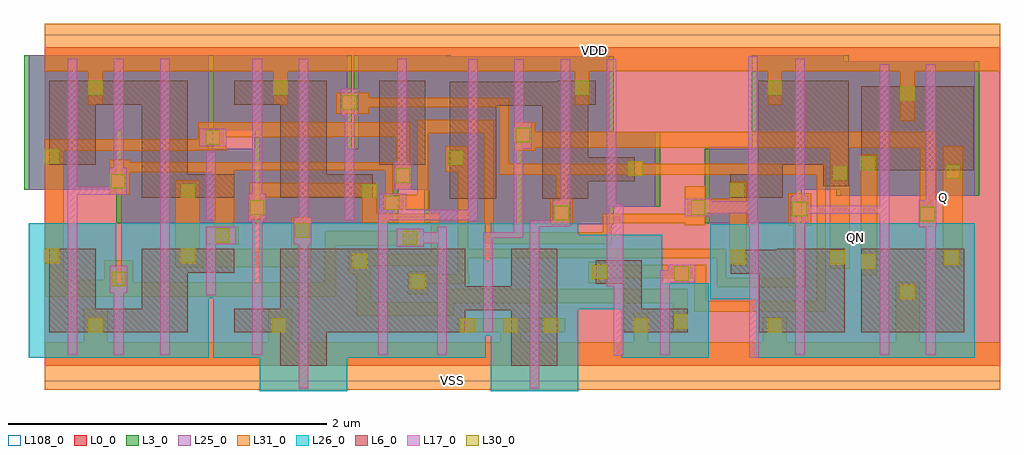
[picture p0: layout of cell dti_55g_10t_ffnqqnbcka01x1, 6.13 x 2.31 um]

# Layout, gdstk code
from math import pi, radians
import gdstk
lib = gdstk.Library(unit=1e-6, precision=1e-09)
def R(c, l, rs):  # rectangles x0, y0, x1, y1
    for r in rs: c.add(gdstk.rectangle(r[:2], r[2:], *l))
def P(c, l, *ps):  # polygons
    for p in ps: c.add(gdstk.Polygon(p, *l))
L0_0 = (0, 0)
L3_0 = (3, 0)
L6_0 = (6, 0)
L17_0 = (17, 0)
L25_0 = (25, 0)
L26_0 = (26, 0)
L30_0 = (30, 0)
L31_0 = (31, 0)
L108_0 = (108, 0)
L923_0 = (923, 0)

template_55g_10t = lib.new_cell('template_55g_10t')
R(template_55g_10t, L31_0, [(0,-0.15,0.2,0.15), (0,1.85,0.2,2.15)])
template_55g_10t.add(gdstk.FlexPath([(0.2,0.21),(0,0.21)], 0, ends="flush", simple_path=True, layer=923, datatype=0))  # L923_0
template_55g_10t.add(gdstk.FlexPath([(0.2,0.735),(0,0.735)], 0, ends="flush", simple_path=True, layer=923, datatype=0))  # L923_0
template_55g_10t.add(gdstk.FlexPath([(0.2,0.895),(0,0.895)], 0, ends="flush", simple_path=True, layer=923, datatype=0))  # L923_0
template_55g_10t.add(gdstk.FlexPath([(0.2,1.055),(0,1.055)], 0, ends="flush", simple_path=True, layer=923, datatype=0))  # L923_0
template_55g_10t.add(gdstk.FlexPath([(0.2,1.79),(0,1.79)], 0, ends="flush", simple_path=True, layer=923, datatype=0))  # L923_0

pmos_4_n_2 = lib.new_cell('pmos_4_n_2')
R(pmos_4_n_2, L3_0, [(-0.275,-0.16,0.335,0.56)])
R(pmos_4_n_2, L6_0, [(-0.115,0,0.175,0.4)])
R(pmos_4_n_2, L17_0, [(0,-0.14,0.06,0.54)])
R(pmos_4_n_2, L25_0, [(-0.245,-0.16,0.305,0.56)])

nmos_525_n_2 = lib.new_cell('nmos_525_n_2')
R(nmos_525_n_2, L6_0, [(-0.115,0,0.175,0.525)])
R(nmos_525_n_2, L17_0, [(0,-0.14,0.06,0.665)])
R(nmos_525_n_2, L26_0, [(-0.245,-0.16,0.305,0.685)])

pmos_15_n_2 = lib.new_cell('pmos_15_n_2')
R(pmos_15_n_2, L3_0, [(-0.275,-0.16,0.335,0.31)])
R(pmos_15_n_2, L6_0, [(-0.115,0,0.175,0.15)])
R(pmos_15_n_2, L17_0, [(0,-0.14,0.06,0.29)])
R(pmos_15_n_2, L25_0, [(-0.245,-0.16,0.305,0.31)])

pmos_735_n_2 = lib.new_cell('pmos_735_n_2')
R(pmos_735_n_2, L3_0, [(-0.275,-0.16,0.335,0.895)])
R(pmos_735_n_2, L6_0, [(-0.115,0,0.175,0.735)])
R(pmos_735_n_2, L17_0, [(0,-0.14,0.06,0.875)])
R(pmos_735_n_2, L25_0, [(-0.245,-0.16,0.305,0.895)])

cellgrid_nom2 = lib.new_cell('cellgrid_noM2')
R(cellgrid_nom2, L0_0, [(0,0,0.2,0.2)])
cellgrid_nom2.add(gdstk.FlexPath([(0.2,0),(0,0.2)], 0, ends="flush", simple_path=True, layer=0, datatype=0))  # L0_0
cellgrid_nom2.add(gdstk.FlexPath([(0.2,0.2),(0,0)], 0, ends="flush", simple_path=True, layer=0, datatype=0))  # L0_0

nmos_15_n_2 = lib.new_cell('nmos_15_n_2')
R(nmos_15_n_2, L6_0, [(-0.115,0,0.175,0.15)])
R(nmos_15_n_2, L17_0, [(0,-0.14,0.06,0.29)])
R(nmos_15_n_2, L26_0, [(-0.245,-0.16,0.305,0.31)])

cnt = lib.new_cell('cnt')
R(cnt, L30_0, [(-0.045,-0.045,0.045,0.045)])
R(cnt, L31_0, [(-0.045,-0.045,0.045,0.045)])

pcnt_v = lib.new_cell('pcnt_v')
R(pcnt_v, L17_0, [(-0.055,-0.085,0.055,0.085)])
pcnt_v.add(gdstk.Reference(cnt, (0,0)))

dti_55g_10t_ffnqqnbcka01 = lib.new_cell('dti_55g_10t_ffnqqnbcka01x1')
R(dti_55g_10t_ffnqqnbcka01, L6_0, [(1.77,0.21,1.98,0.735), (2.27,0.21,2.35,0.735), (3.635,0.21,3.75,0.515), (4.485,0.21,4.61,0.58), (4.89,0.21,5.025,0.735), (5.71,0.21,5.775,0.735), (4.48,1.055,4.635,1.79), (4.89,1.13,5.05,1.79), (5.71,1.23,5.835,1.755), (3.22,1.64,3.46,1.79)])
R(dti_55g_10t_ffnqqnbcka01, L17_0, [(4.425,0.05,4.485,0.44), (3.575,0.065,3.635,0.375), (1.305,0.5,1.365,1.5), (3.53,0.5,3.635,1.02), (3.865,0.5,3.925,0.535), (3.865,0.535,3.925,0.6), (2.755,0.64,2.815,0.84), (2.38,0.77,2.465,0.84), (2.815,0.805,2.945,0.84), (2.945,0.805,3.005,1.495), (0.725,0.85,0.785,0.915), (4.42,0.87,4.485,0.915), (1.595,0.875,1.655,0.915), (3.045,0.875,3.3,0.915), (5.535,0.875,5.595,1.09), (4.19,0.96,4.425,1.035), (1.885,1.345,1.945,1.57), (4.42,1.345,4.48,1.945), (3.53,1.45,3.59,1.925)])
P(dti_55g_10t_ffnqqnbcka01, L17_0, [(2.095,0.875),(2.095,0.98),(2.66,0.98),(2.66,0.915),(2.155,0.915),(2.155,0.875)],
  [(0.145,0.875),(0.145,1.125),(0.435,1.125),(0.435,1.5),(0.495,1.5),(0.495,1.075),(0.205,1.075),(0.205,0.875)],
  [(4.715,0.875),(4.715,1.125),(4.775,1.125),(4.775,1.005),(5.245,1.005),(5.245,1.09),(5.305,1.09),(5.305,0.875),(5.245,0.875),(5.245,0.955),(4.775,0.955),(4.775,0.875)],
  [(4.355,0.675),(4.355,0.675),(4.355,0.675),(4.355,0.675)])
R(dti_55g_10t_ffnqqnbcka01, L31_0, [(3.7,0.065,3.79,0.335), (0.245,0.15,0.395,0.36), (1.405,0.15,1.555,0.36), (4.51,0.15,4.66,0.305), (5.345,0.15,5.495,0.53), (3.945,0.22,4.04,0.395), (1.96,0.315,2.05,0.575), (2.05,0.315,2.57,0.4), (4.08,0.34,4.155,0.55), (4.155,0.34,4.905,0.41), (2.51,0.4,2.57,0.485), (4.85,0.41,4.905,0.635), (0.555,0.435,1.83,0.525), (2.28,0.45,2.41,0.595), (4.22,0.495,4.28,0.675), (4.28,0.495,4.7,0.555), (4.7,0.495,4.78,0.74), (2.41,0.515,2.665,0.575), (3.415,0.52,3.54,0.655), (1.76,0.525,1.83,0.755), (3.54,0.55,4.155,0.635), (5.125,0.57,5.23,1.33), (1.91,0.575,2.05,0.725), (2.595,0.575,2.66,1.22), (4.93,0.61,5.055,1.37), (0,0.615,0.12,1.35), (0.82,0.62,0.975,1.165), (5.64,0.62,5.765,1.38), (2.05,0.63,2.425,0.705), (2.425,0.63,2.475,0.895), (4.3,0.63,4.41,1.16), (4.85,0.635,4.905,1.2), (2.66,0.675,4.28,0.735), (4.7,0.735,4.78,0.88), (1.76,0.755,2.38,0.85), (1.01,0.765,1.22,0.875), (2.82,0.765,3.505,0.84), (3.505,0.765,3.56,0.895), (2.76,0.77,2.82,1.46), (1.065,0.875,1.19,1.215), (5.495,0.875,5.6,1.37), (4.67,0.88,4.815,1.085), (3.175,0.885,3.315,1.055), (4.02,0.885,4.15,1.13), (1.995,0.895,2.085,1.145), (2.085,0.895,2.48,0.955), (3.505,0.895,4.02,0.955), (4.15,0.96,4.305,1.05), (2.13,0.98,2.34,1.075), (2.14,0.98,2.185,1.23), (2.34,0.98,2.41,1.545), (3.21,0.995,3.285,1.2), (0.405,1.075,0.535,1.295), (2.855,1.2,2.915,1.625), (2.915,1.2,4.905,1.27), (0.535,1.215,1.19,1.28), (2.515,1.22,2.66,1.38), (1.19,1.23,2.185,1.28), (2.95,1.35,3.08,1.53), (3.08,1.37,5.595,1.47), (2.41,1.46,2.82,1.545), (5.375,1.54,5.465,1.85), (1.83,1.585,2.035,1.715), (2.035,1.625,2.915,1.685), (0.275,1.64,0.365,1.85), (1.435,1.64,1.525,1.85), (3.33,1.64,3.42,1.85), (4.54,1.64,4.63,1.85)])
P(dti_55g_10t_ffnqqnbcka01, L31_0, [(2.205,1.11),(2.205,1.435),(1.805,1.435),(1.805,1.435),(1.14,1.435),(1.14,1.35),(0.945,1.35),(0.945,1.35),(0,1.35),(0,1.425),(0.965,1.425),(0.965,1.53),(1.195,1.53),(1.195,1.53),(1.725,1.53),(1.725,1.53),(2.295,1.53),(2.295,1.11)],
  [(2.57,0.395),(2.57,0.485),(3.515,0.485),(3.515,0.485),(4.04,0.485),(4.04,0.395),(3.42,0.395)],
  [(1.285,0.92),(1.285,1.055),(1.285,1.055),(1.285,1.15),(2.08,1.15),(2.08,1.06),(1.38,1.06),(1.38,1.065),(1.38,1.065),(1.38,0.92)],
  [(2.86,0.15),(2.86,0.21),(2.595,0.21),(2.595,0.3),(3.27,0.3),(3.27,0.21),(2.99,0.21),(2.99,0.15)],
  [(0.975,0.62),(0.975,0.735),(1.55,0.735),(1.55,0.935),(1.675,0.935),(1.675,0.62)],
  [(0,0.435),(0,0.615),(0.12,0.615),(0.12,0.54),(0.375,0.54),(0.375,0.665),(0.555,0.665),(0.555,0.435)])
R(dti_55g_10t_ffnqqnbcka01, L108_0, [(0,-0.095,6,2.08)])
r = gdstk.Reference(template_55g_10t, (0,0)); r.repetition = gdstk.Repetition(30, 1, v1=(0.2,0), v2=(0,0)); dti_55g_10t_ffnqqnbcka01.add(r)
r = gdstk.Reference(pmos_4_n_2, (0.145,1.265)); r.repetition = gdstk.Repetition(1, 2, v1=(0,0), v2=(0,0.125)); dti_55g_10t_ffnqqnbcka01.add(r)
dti_55g_10t_ffnqqnbcka01.add(gdstk.Reference(nmos_525_n_2, (0.145,0.21)))
dti_55g_10t_ffnqqnbcka01.add(gdstk.Reference(pmos_15_n_2, (0.435,1.64)))
dti_55g_10t_ffnqqnbcka01.add(gdstk.Reference(pmos_735_n_2, (0.725,1.055)))
r = gdstk.Reference(nmos_525_n_2, (0.725,0.21)); r.repetition = gdstk.Repetition(1, 1, v1=(0,0), v2=(0,0)); dti_55g_10t_ffnqqnbcka01.add(r)
r = gdstk.Reference(cellgrid_nom2, (0,0)); r.repetition = gdstk.Repetition(30, 10, v1=(0.2,0), v2=(0,0.2)); dti_55g_10t_ffnqqnbcka01.add(r)
dti_55g_10t_ffnqqnbcka01.add(gdstk.Reference(pmos_15_n_2, (1.305,1.64)))
dti_55g_10t_ffnqqnbcka01.add(gdstk.Reference(pmos_15_n_2, (1.015,1.055)))
dti_55g_10t_ffnqqnbcka01.add(gdstk.Reference(nmos_15_n_2, (1.305,0.21)))
dti_55g_10t_ffnqqnbcka01.add(gdstk.Reference(pmos_735_n_2, (1.595,1.055)))
r = gdstk.Reference(nmos_525_n_2, (1.595,0)); r.repetition = gdstk.Repetition(1, 2, v1=(0,0), v2=(0,0.21)); dti_55g_10t_ffnqqnbcka01.add(r)
dti_55g_10t_ffnqqnbcka01.add(gdstk.Reference(pmos_15_n_2, (1.885,1.055)))
r = gdstk.Reference(pmos_4_n_2, (2.215,1.265)); r.repetition = gdstk.Repetition(1, 2, v1=(0,0), v2=(0,0.125)); dti_55g_10t_ffnqqnbcka01.add(r)
dti_55g_10t_ffnqqnbcka01.add(gdstk.Reference(pmos_735_n_2, (2.66,1.05)))
dti_55g_10t_ffnqqnbcka01.add(gdstk.Reference(nmos_525_n_2, (2.095,0.21)))
dti_55g_10t_ffnqqnbcka01.add(gdstk.Reference(nmos_525_n_2, (2.465,0.21)))
dti_55g_10t_ffnqqnbcka01.add(gdstk.Reference(pmos_15_n_2, (2.95,1.635)))
dti_55g_10t_ffnqqnbcka01.add(gdstk.Reference(nmos_15_n_2, (2.755,0.35)))
dti_55g_10t_ffnqqnbcka01.add(gdstk.Reference(pmos_735_n_2, (3.24,1.05)))
r = gdstk.Reference(nmos_525_n_2, (3.045,0)); r.repetition = gdstk.Repetition(1, 2, v1=(0,0), v2=(0,0.21)); dti_55g_10t_ffnqqnbcka01.add(r)
dti_55g_10t_ffnqqnbcka01.add(gdstk.Reference(pmos_15_n_2, (3.53,1.16)))
dti_55g_10t_ffnqqnbcka01.add(gdstk.Reference(nmos_15_n_2, (3.575,0.515)))
dti_55g_10t_ffnqqnbcka01.add(gdstk.Reference(nmos_15_n_2, (3.865,0.21)))
dti_55g_10t_ffnqqnbcka01.add(gdstk.Reference(pmos_15_n_2, (4.42,1.055)))
dti_55g_10t_ffnqqnbcka01.add(gdstk.Reference(nmos_15_n_2, (4.425,0.58)))
r = gdstk.Reference(pmos_4_n_2, (4.715,1.265)); r.repetition = gdstk.Repetition(1, 2, v1=(0,0), v2=(0,0.125)); dti_55g_10t_ffnqqnbcka01.add(r)
dti_55g_10t_ffnqqnbcka01.add(gdstk.Reference(nmos_525_n_2, (4.715,0.21)))
r = gdstk.Reference(pmos_4_n_2, (5.535,1.23)); r.repetition = gdstk.Repetition(1, 2, v1=(0,0), v2=(0,0.125)); dti_55g_10t_ffnqqnbcka01.add(r)
dti_55g_10t_ffnqqnbcka01.add(gdstk.Reference(nmos_525_n_2, (5.535,0.21)))
r = gdstk.Reference(pmos_4_n_2, (5.245,1.23)); r.repetition = gdstk.Repetition(1, 2, v1=(0,0), v2=(0,0.125)); dti_55g_10t_ffnqqnbcka01.add(r)
dti_55g_10t_ffnqqnbcka01.add(gdstk.Reference(nmos_525_n_2, (5.245,0.21)))
dti_55g_10t_ffnqqnbcka01.add(gdstk.Reference(nmos_15_n_2, (0.435,0.21)))
dti_55g_10t_ffnqqnbcka01.add(gdstk.Reference(nmos_15_n_2, (1.015,0.585)))
dti_55g_10t_ffnqqnbcka01.add(gdstk.Reference(cnt, (0.045,1.315)))
dti_55g_10t_ffnqqnbcka01.add(gdstk.Reference(cnt, (0.045,0.69)))
dti_55g_10t_ffnqqnbcka01.add(gdstk.Reference(cnt, (0.32,1.745)))
dti_55g_10t_ffnqqnbcka01.add(gdstk.Reference(cnt, (0.32,0.255)))
dti_55g_10t_ffnqqnbcka01.add(gdstk.Reference(cnt, (1.48,1.745)))
dti_55g_10t_ffnqqnbcka01.add(gdstk.Reference(cnt, (1.47,0.255)))
dti_55g_10t_ffnqqnbcka01.add(gdstk.Reference(cnt, (2.925,0.255)))
dti_55g_10t_ffnqqnbcka01.add(gdstk.Reference(cnt, (3.18,0.255)))
dti_55g_10t_ffnqqnbcka01.add(gdstk.Reference(cnt, (2.655,0.255)))
dti_55g_10t_ffnqqnbcka01.add(gdstk.Reference(cnt, (3.375,1.745)))
dti_55g_10t_ffnqqnbcka01.add(gdstk.Reference(cnt, (3.745,0.255)))
dti_55g_10t_ffnqqnbcka01.add(gdstk.Reference(cnt, (4.585,1.745)))
dti_55g_10t_ffnqqnbcka01.add(gdstk.Reference(cnt, (4.585,0.255)))
dti_55g_10t_ffnqqnbcka01.add(gdstk.Reference(cnt, (5.42,1.71)))
dti_55g_10t_ffnqqnbcka01.add(gdstk.Reference(cnt, (5.42,0.465)))
dti_55g_10t_ffnqqnbcka01.add(gdstk.Reference(cnt, (0.9,1.1)))
dti_55g_10t_ffnqqnbcka01.add(gdstk.Reference(cnt, (0.9,0.69)))
dti_55g_10t_ffnqqnbcka01.add(gdstk.Reference(pcnt_v, (1.62,0.85)))
dti_55g_10t_ffnqqnbcka01.add(gdstk.Reference(cnt, (2.04,1.1)))
dti_55g_10t_ffnqqnbcka01.add(gdstk.Reference(cnt, (1.98,0.66)))
dti_55g_10t_ffnqqnbcka01.add(gdstk.Reference(pcnt_v, (1.335,0.995), rotation=pi))
dti_55g_10t_ffnqqnbcka01.add(gdstk.Reference(pcnt_v, (4,0.58), rotation=pi/2))
dti_55g_10t_ffnqqnbcka01.add(gdstk.Reference(pcnt_v, (2.185,1.025), rotation=3*pi/2))
dti_55g_10t_ffnqqnbcka01.add(gdstk.Reference(pcnt_v, (4.105,0.995), rotation=pi/2))
dti_55g_10t_ffnqqnbcka01.add(gdstk.Reference(pcnt_v, (4.74,0.985)))
dti_55g_10t_ffnqqnbcka01.add(gdstk.Reference(pcnt_v, (1.055,1.435), rotation=pi/2))
dti_55g_10t_ffnqqnbcka01.add(gdstk.Reference(pcnt_v, (2.25,1.195)))
dti_55g_10t_ffnqqnbcka01.add(gdstk.Reference(pcnt_v, (0.465,0.545)))
dti_55g_10t_ffnqqnbcka01.add(gdstk.Reference(pcnt_v, (2.295,0.805), rotation=pi/2))
dti_55g_10t_ffnqqnbcka01.add(gdstk.Reference(pcnt_v, (0.46,1.16)))
dti_55g_10t_ffnqqnbcka01.add(gdstk.Reference(pcnt_v, (1.115,0.82), rotation=pi/2))
dti_55g_10t_ffnqqnbcka01.add(gdstk.Reference(cnt, (3.995,0.28)))
dti_55g_10t_ffnqqnbcka01.add(gdstk.Reference(pcnt_v, (1.915,1.655)))
dti_55g_10t_ffnqqnbcka01.add(gdstk.Reference(pcnt_v, (3.245,0.96)))
dti_55g_10t_ffnqqnbcka01.add(gdstk.Reference(cnt, (3.485,0.59)))
dti_55g_10t_ffnqqnbcka01.add(gdstk.Reference(cnt, (3.71,1.24)))
dti_55g_10t_ffnqqnbcka01.add(gdstk.Reference(cnt, (2.345,0.53)))
dti_55g_10t_ffnqqnbcka01.add(gdstk.Reference(cnt, (2.58,1.305)))
dti_55g_10t_ffnqqnbcka01.add(gdstk.Reference(pcnt_v, (3.005,1.45)))
dti_55g_10t_ffnqqnbcka01.add(gdstk.Reference(pcnt_v, (5.545,0.955)))
dti_55g_10t_ffnqqnbcka01.add(gdstk.Reference(cnt, (4.355,0.685)))
dti_55g_10t_ffnqqnbcka01.add(gdstk.Reference(cnt, (4.35,1.105)))
dti_55g_10t_ffnqqnbcka01.add(gdstk.Reference(cnt, (4.995,1.21)))
dti_55g_10t_ffnqqnbcka01.add(gdstk.Reference(cnt, (4.98,0.685)))
dti_55g_10t_ffnqqnbcka01.add(gdstk.Reference(cnt, (5.17,1.275)))
dti_55g_10t_ffnqqnbcka01.add(gdstk.Reference(cnt, (5.175,0.655)))
dti_55g_10t_ffnqqnbcka01.add(gdstk.Reference(cnt, (5.705,1.22)))
dti_55g_10t_ffnqqnbcka01.add(gdstk.Reference(cnt, (5.695,0.68)))
dti_55g_10t_ffnqqnbcka01.add(gdstk.Label('QN', (5.095,0.805), layer=131, texttype=0))
dti_55g_10t_ffnqqnbcka01.add(gdstk.Label('Q', (5.645,1.06), layer=131, texttype=0))
dti_55g_10t_ffnqqnbcka01.add(gdstk.Label('VSS', (2.56,-0.09), layer=131, texttype=0))
dti_55g_10t_ffnqqnbcka01.add(gdstk.Label('VDD', (3.455,1.98), layer=131, texttype=0))

lib.write_gds('dti_55g_10t_ffnqqnbcka01x1.gds')
